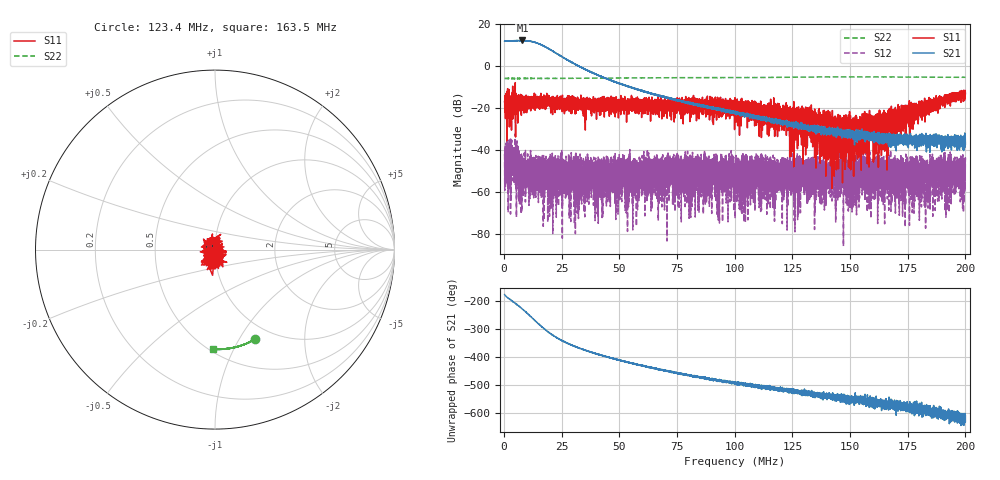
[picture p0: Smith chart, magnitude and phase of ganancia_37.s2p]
# Hz S DB R 50
! CMT, M5065, 19127446, 24.2.4/2
! Date: 11/8/2024 4:06:22 PM
! Data: Format (Calibration Info)
! Freq	S11:dB/Ang(F2)	S21:dB/Ang(F2)	S12:dB/Ang(F2)	S22:dB/Ang(F2)
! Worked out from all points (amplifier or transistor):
!   9000 points, 300 kHz to 200 MHz, reference 50 ohm
!   highest |S21| = 12.3 dB at 8 MHz (marker M1)
!   |S21| within 3 dB of that: start of sweep to 17.82 MHz
!   unconditionally stable (mu >= 1): start of sweep to end of sweep
!   at 33.59 MHz: K = 87.71, MAG = 0.9 dB, |S12| = -47.3 dB
!   at 100.2 MHz: K = 1123.65, MAG = -20.4 dB, |S12| = -48.2 dB
!   at 200 MHz: K = 4459.39, MAG = -35.4 dB, |S12| = -45.4 dB
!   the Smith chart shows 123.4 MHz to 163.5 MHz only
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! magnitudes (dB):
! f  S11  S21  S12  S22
! 300 kHz  -16.9  12.0  -41.8  -5.8
! 3.984 MHz  -20.2  12.1  -38.2  -5.8
! 8 MHz  -15.5  12.3  -54.4  -5.8
! 16.03 MHz  -18.6  10.2  -54.6  -5.8
! 33.59 MHz  -15.8  -0.6  -47.3  -5.7
! 66.87 MHz  -18.7  -14.1  -60.8  -5.5
! 90.95 MHz  -15.6  -19.8  -49.2  -5.4
! 92.77 MHz  -19.1  -20.7  -57.2  -5.4
! 98.59 MHz  -22.8  -22.2  -48.8  -5.4
! 100.2 MHz  -22.5  -21.9  -48.2  -5.4
! 125.3 MHz  -24.5  -27.4  -49.1  -5.2
! 133.4 MHz  -20.9  -30.0  -45.5  -5.1
! 142.4 MHz  -30.6  -29.6  -46.2  -5.1
! 146 MHz  -25.5  -31.2  -61.4  -5.1
! 151.2 MHz  -27.9  -32.1  -50.2  -5.1
! 166.7 MHz  -23.9  -34.3  -45.5  -5.1
! 173.1 MHz  -21.8  -34.1  -44.0  -5.1
! 181.7 MHz  -17.2  -32.9  -57.8  -5.2
! 183.8 MHz  -17.6  -37.0  -48.9  -5.2
! 189.8 MHz  -16.9  -40.8  -44.5  -5.3
! 198.9 MHz  -12.1  -35.5  -49.3  -5.3
! 200 MHz  -13.0  -37.1  -45.4  -5.3
